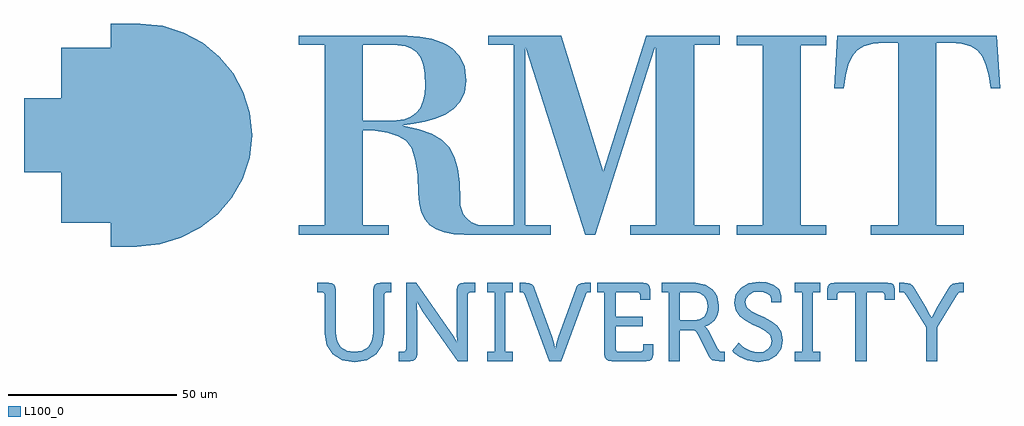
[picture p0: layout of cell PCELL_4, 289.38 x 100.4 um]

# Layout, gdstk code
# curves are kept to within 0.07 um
import gdstk
lib = gdstk.Library(unit=1e-6, precision=1e-08)
def P(c, l, *ps):  # polygons
    for p in ps: c.add(gdstk.Polygon(p, *l))
L100_0 = (100, 0)

pcell_4 = lib.new_cell('PCELL_4')
P(pcell_4, L100_0, [(98.02,0),(94.38,0.62),(91.58,2.36),(89.78,5.02),(89.14,8.46),(89.14,20),(88.96,20.52),(88.44,20.7),(87.02,20.7),(87.02,23.52),(90.34,23.52),(91.28,23.4),(91.94,23.02),(92.32,22.38),(92.44,21.44),(92.44,8.62),(92.82,6.3),(93.94,4.52),(95.7,3.44),(97.96,3.06),(100.26,3.44),(102,4.52),(103.1,6.3),(103.52,8.64),(103.52,21.44),(103.64,22.38),(104.02,23.02),(104.7,23.4),(105.64,23.52),(108.92,23.52),(108.92,20.7),(107.52,20.7),(106.98,20.52),(106.78,20),(106.78,8.46),(106.16,5.02),(104.38,2.36),(101.6,0.62)],
  [(111.14,0.38),(111.14,3.2),(112.54,3.2),(113.08,3.38),(113.28,3.92),(113.28,23.52),(116.24,23.52),(126.54,8.88),(128.48,5.74),(128.34,8.88),(128.34,21.44),(128.44,22.38),(128.8,23.02),(129.48,23.4),(130.44,23.52),(133.74,23.52),(133.74,20.7),(132.34,20.7),(131.78,20.52),(131.6,20),(131.6,0.38),(128.66,0.38),(118.3,15.02),(116.42,18.18),(116.54,15.02),(116.54,2.48),(116.42,1.54),(116.04,0.88),(115.4,0.5),(114.46,0.38)],
  [(137.3,0.38),(137.3,3.2),(139.54,3.2),(139.54,20.7),(137.3,20.7),(137.3,23.52),(144.92,23.52),(144.92,20.7),(142.66,20.7),(142.66,3.2),(144.92,3.2),(144.92,0.38)],
  [(155.76,0.38),(148.5,20),(148.08,20.58),(146.98,20.7),(146.98,23.52),(149.82,23.44),(150.56,23.14),(151.08,22.58),(151.5,21.64),(156.58,7.36),(157.46,4.18),(157.56,4.18),(158.08,6.36),(163.52,21.64),(163.94,22.58),(164.46,23.14),(165.2,23.44),(168.06,23.52),(168.06,20.7),(166.9,20.58),(166.52,20),(159.26,0.38)],
  [(174.2,0.38),(173.26,0.5),(172.6,0.88),(172.22,1.54),(172.1,2.48),(172.1,20.7),(169.96,20.7),(169.96,23.52),(183.58,23.52),(184.52,23.4),(185.2,23.02),(185.54,22.38),(185.66,21.44),(185.66,18.52),(182.7,18.52),(182.7,20),(182.48,20.52),(181.96,20.7),(175.38,20.7),(175.38,13.46),(183.48,13.46),(183.48,10.64),(175.38,10.64),(175.38,3.92),(175.58,3.38),(176.1,3.2),(182.84,3.2),(183.4,3.38),(183.58,3.92),(183.58,5.42),(186.6,5.42),(186.6,2.48),(186.48,1.54),(186.1,0.88),(185.46,0.5),(184.48,0.38)],
  [(191.18,0.38),(191.18,20.7),(189.08,20.7),(189.08,23.52),(199.16,23.52),(201.96,23.06),(204.12,21.72),(204.8,20.7),(194.48,20.7),(194.48,12.4),(198.74,12.4),(200.4,12.7),(201.66,13.56),(202.42,14.84),(202.68,16.62),(202.42,18.34),(201.66,19.64),(200.42,20.44),(198.8,20.7),(204.8,20.7),(205.56,19.58),(206.06,16.74),(205.94,15.38),(205.66,14.2),(205.18,13.2),(204.6,12.34),(203.24,11.18),(201.92,10.56),(202.9,9.5),(205.68,3.98),(206.34,3.32),(207.74,3.2),(207.74,0.38),(204.98,0.44),(204.12,0.68),(203.5,1.2),(202.92,2.12),(199.78,8.36),(199.36,9),(198.9,9.38),(198.3,9.56),(197.48,9.58),(194.48,9.58),(194.48,0.38)],
  [(228.46,0.38),(228.46,3.2),(230.74,3.2),(230.74,20.7),(228.46,20.7),(228.46,23.52),(236.12,23.52),(236.12,20.7),(233.84,20.7),(233.84,3.2),(236.12,3.2),(236.12,0.38)],
  [(246.52,0.38),(246.52,20.7),(241.88,20.7),(241.34,20.52),(241.14,20),(241.14,18.52),(238.22,18.52),(238.22,21.56),(238.34,22.5),(238.68,23.12),(239.26,23.44),(240.2,23.52),(256.14,23.52),(257.08,23.44),(257.66,23.12),(257.98,22.5),(258.1,21.56),(258.1,18.52),(255.2,18.52),(255.2,20),(254.98,20.52),(254.46,20.7),(249.82,20.7),(249.82,0.38)],
  [(267.46,0.38),(267.46,10.46),(261.58,19.88),(260.96,20.56),(259.52,20.7),(259.52,23.52),(262.04,23.46),(262.8,23.22),(263.48,22.66),(264.14,21.76),(268.18,14.96),(269.04,13.32),(274,21.76),(274.66,22.66),(275.34,23.22),(276.1,23.46),(278.62,23.52),(278.62,20.7),(277.18,20.56),(276.56,19.88),(270.72,10.46),(270.72,0.38)],
  [(217.68,0),(214.42,0.54),(212,1.7),(210.5,2.88),(210,3.44),(211.94,5.76),(212.86,4.88),(214.38,3.86),(216.5,3.08),(217.74,2.98),(219.26,3.2),(220.54,3.88),(221.38,4.98),(221.7,6.42),(221.24,8),(219.98,9.2),(218.18,10.24),(214.06,12.26),(212.26,13.62),(211,15.38),(210.54,17.72),(211.06,20.18),(212.6,22.14),(214.94,23.44),(217.94,23.94),(220,23.7),(222.14,22.96),(223.86,21.64),(224.52,19.68),(224.52,17.76),(221.54,17.76),(221.54,18.84),(221.2,19.68),(220.42,20.34),(219.26,20.78),(217.94,20.94),(216.26,20.7),(214.98,20.02),(214.16,19.06),(213.88,17.82),(214.36,16.32),(215.62,15.18),(217.42,14.2),(221.5,12.24),(223.3,10.88),(224.52,9.06),(225.02,6.58),(224.52,4.06),(223.06,1.98),(220.76,0.54)],
  [(81.52,37.84),(81.52,40.64),(89.14,40.64),(89.14,94.12),(81.52,94.12),(81.52,96.88),(113.7,96.82),(117.36,96.52),(120.92,95.88),(124.18,94.78),(125.3,94.12),(100.46,94.12),(100.46,71.6),(107.72,71.6),(110.48,71.7),(112.84,72.12),(114.74,72.86),(116.3,73.92),(117.48,75.36),(118.3,77.2),(118.78,79.46),(118.96,82.2),(118.8,85.56),(118.36,88.24),(117.6,90.32),(116.52,91.88),(115.04,92.96),(113.16,93.64),(110.86,94),(108.16,94.12),(125.3,94.12),(126.98,93.12),(129.18,90.74),(130.62,87.56),(131.12,83.46),(130.66,80.06),(129.36,77.32),(127.36,75.12),(124.84,73.44),(121.92,72.2),(118.78,71.3),(115.54,70.68),(112.4,70.26),(112.4,70.1),(117.08,69.12),(120.86,67.8),(123.8,66.06),(126.04,63.8),(127.62,60.98),(128.62,57.48),(129.16,53.3),(129.4,46.52),(129.72,45.24),(130.28,43.9),(131.22,42.64),(132.6,41.58),(134.5,40.84),(137.04,40.64),(145.26,40.64),(145.26,94.12),(137.66,94.12),(137.66,96.88),(159.32,96.88),(171.7,56.5),(184.48,96.88),(206.28,96.88),(206.28,94.12),(198.66,94.12),(198.66,40.64),(206.28,40.64),(206.28,37.84),(179.76,37.84),(179.76,40.64),(187.34,40.64),(187.34,93.2),(187.08,93.2),(169.4,37.84),(166.4,37.84),(148.82,93.2),(148.64,93.2),(148.64,40.64),(156.12,40.64),(156.12,37.84),(130.5,37.84),(127.36,38.02),(124.62,38.52),(122.28,39.4),(120.36,40.7),(118.86,42.4),(117.78,44.54),(117.14,47.16),(116.7,55.5),(116.02,59.98),(114.9,63.44),(113.36,65.62),(110.98,67.06),(107.82,68.1),(104.2,68.7),(100.46,68.82),(100.46,40.64),(108.1,40.64),(108.1,37.84)],
  [(211.32,37.84),(211.32,40.64),(219,40.64),(219,94.08),(211.32,94.08),(211.32,96.88),(237.9,96.88),(237.9,94.08),(230.26,94.08),(230.26,40.64),(237.9,40.64),(237.9,37.84)],
  [(251.02,37.84),(251.02,40.64),(259.16,40.64),(259.16,94.66),(254.96,94.72),(251.6,94.44),(249,93.7),(247,92.46),(245.52,90.68),(244.44,88.26),(243.64,85.18),(243,81.32),(240.18,81.32),(241.14,96.88),(288.42,96.88),(289.38,81.32),(286.66,81.32),(286,85.18),(285.2,88.26),(284.12,90.68),(282.62,92.46),(280.66,93.7),(278.04,94.44),(274.68,94.72),(270.48,94.66),(270.48,40.64),(278.62,40.64),(278.62,37.84)],
  [(25.72,34.28),(25.72,41.42),(11.06,41.42),(11.06,56.36),(0,56.36),(0,78.3),(11.06,78.3),(11.06,93.22),(25.72,93.22),(25.72,100.4),(34.54,100.4),(41.2,99.72),(47.4,97.76),(53,94.7),(57.92,90.64),(61.98,85.74),(65.06,80.12),(67,73.92),(67.68,67.26),(66.94,60.6),(64.88,54.4),(61.66,48.78),(57.4,43.9),(52.3,39.9),(46.52,36.86),(40.2,34.96),(33.48,34.28)])

lib.write_gds('PCELL_4.gds')
